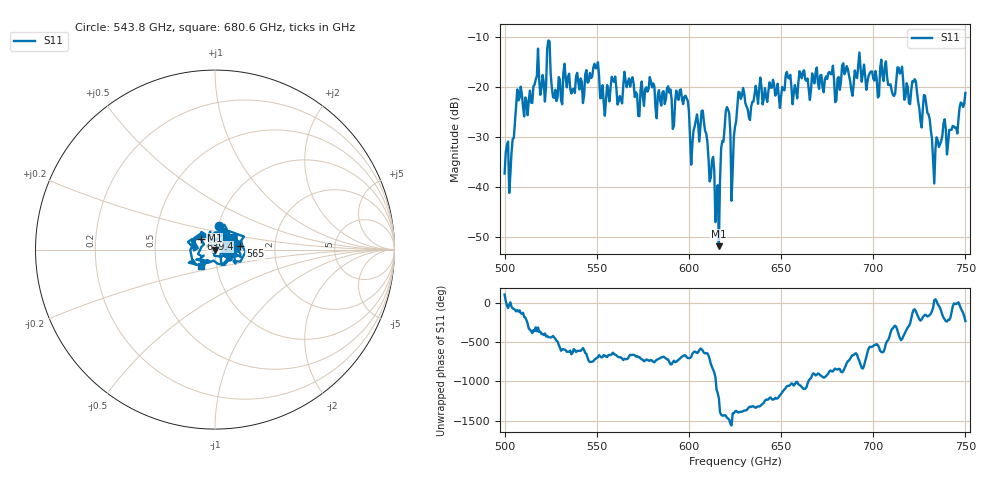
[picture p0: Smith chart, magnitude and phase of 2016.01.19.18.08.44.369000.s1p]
!Created with skrf (http://scikit-rf.org).
# GHz S RI R 50.0
!freq ReS11 ImS11
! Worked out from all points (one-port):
!   401 points, 500 GHz to 750 GHz, reference 50 ohm
!   lowest |S11| = -51.7 dB at 616.2 GHz (marker M1), VSWR 1.01, Z = 49.8 - j0.182 ohm
!   |S11| at or under -10 dB: start of sweep to end of sweep
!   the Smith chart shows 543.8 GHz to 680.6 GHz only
!   S11 on the Smith chart (normalised r, x): 543.8 GHz: 1.01, +0.27; 565 GHz: 1.33, +0.05; 639.4 GHz: 0.85, +0.10; 680.6 GHz: 0.84, -0.16
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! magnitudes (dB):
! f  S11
! 500 GHz  -37.2
! 503.8 GHz  -33.1
! 508.1 GHz  -22.2
! 523.8 GHz  -10.7
! 526.9 GHz  -22.2
! 531.2 GHz  -23.4
! 543.8 GHz  -17.4
! 549.4 GHz  -16.2
! 553.1 GHz  -19.6
! 562.5 GHz  -21.8
! 565 GHz  -16.9
! 593.8 GHz  -22.2
! 601.9 GHz  -31.4
! 608.1 GHz  -26.9
! 615 GHz  -42.3
! 616.2 GHz  -51.7
! 620.6 GHz  -24.0
! 623.1 GHz  -42.7
! 625 GHz  -27.9
! 628.1 GHz  -22.4
! 639.4 GHz  -20.0
! 656.2 GHz  -23.4
! 680.6 GHz  -18.3
! 687.5 GHz  -18.9
! 718.8 GHz  -20.0
! 728.8 GHz  -23.5
! 733.8 GHz  -32.3
! 750 GHz  -21.2
